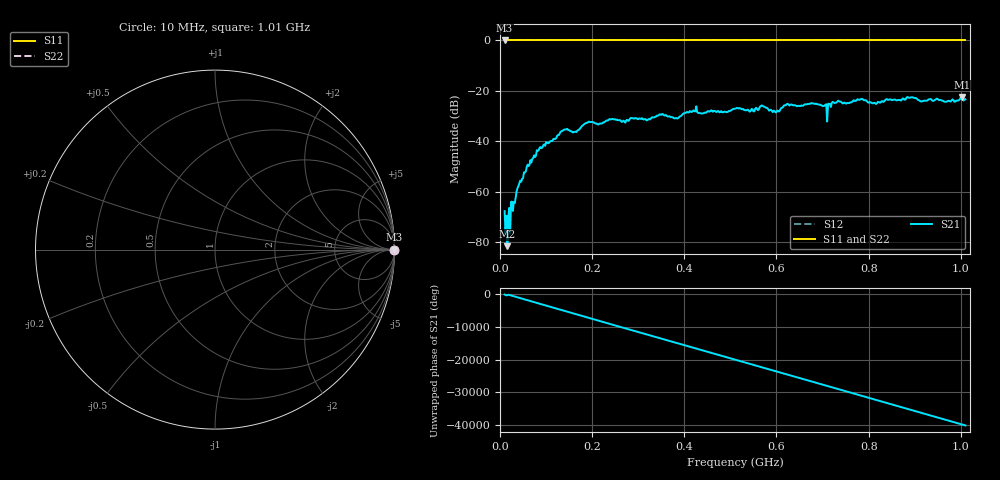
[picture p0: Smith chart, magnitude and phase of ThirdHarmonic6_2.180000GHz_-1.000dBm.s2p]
! 8/17/2025 2:00:19 AM
! C:\ANRITSUVNA\TEMP\TEMP.S2P
! CHANNEL.1
! TR.MEASUREMENT
! RAW.DATA
! RF.CORRECTION.OFF
! AVERAGING.OFF
! IF.BANDWIDTH: 5KHZ
! SWEEPTYPE:  FREQ.SWEEP(Linear)
! Reference Plane Port Info
! PORT:  PORT1  PORT2
! DISTANCE:  0  m  0  m
! TIME:  0  s  0  s
! PHASE.OFFSET:  0  deg.  0  deg.
! LOSS:  0  dB  0  dB
! REF.LOSS:  0  dB  0  dB
! REF.FREQ:  0  Hz  0  Hz
! Power Info
! POWER:  -20  dBm  -20  dBm
! EFF.POWER:  -20  dBm  -20  dBm
! SOURCE.ATTEN:  0  dB  0  dB
! TEST.ATTEN:  0  dB  0  dB
# GHZ S RI R 50.0
! FREQ.GHZ  S11RE  S11IM  S21RE  S21IM  S12RE  S12IM  S22RE  S22IM
!; PortSelection: Port_12
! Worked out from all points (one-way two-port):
!   501 points, 10 MHz to 1.01 GHz, reference 50 ohm
!   highest |S21| = -22.34 dB at 1.002 GHz (marker M1); lowest = -81.5 dB at 16 MHz (marker M2)
!   lowest |S11| = 0.0 dB at 10 MHz (marker M3)
!   |S11| at or under -10 dB: nowhere
!   |S22| runs from 0.0 to 0.0 dB; largest |S21 - S12| = 1.1
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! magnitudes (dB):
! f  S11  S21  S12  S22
! 10 MHz  0.0  -67.6  0.0  0.0
! 12 MHz  0.0  -76.5  0.0  0.0
! 16 MHz  0.0  -81.5  0.0  0.0
! 40 MHz  0.0  -57.7  0.0  0.0
! 84 MHz  0.0  -43.4  0.0  0.0
! 136 MHz  0.0  -35.7  0.0  0.0
! 162 MHz  0.0  -36.2  0.0  0.0
! 178 MHz  0.0  -33.9  0.0  0.0
! 344 MHz  0.0  -29.7  0.0  0.0
! 382 MHz  0.0  -30.7  0.0  0.0
! 422 MHz  0.0  -28.0  0.0  0.0
! 438 MHz  0.0  -28.9  0.0  0.0
! 510 MHz  0.0  -27.0  0.0  0.0
! 570 MHz  0.0  -25.9  0.0  0.0
! 602 MHz  0.0  -27.7  0.0  0.0
! 622 MHz  0.0  -25.3  0.0  0.0
! 678 MHz  0.0  -24.9  0.0  0.0
! 706 MHz  0.0  -25.5  0.0  0.0
! 736 MHz  0.0  -24.2  0.0  0.0
! 844 MHz  0.0  -23.5  0.0  0.0
! 1.002 GHz  0.0  -22.3  0.0  0.0
! 1.01 GHz  0.0  -23.3  0.0  0.0
